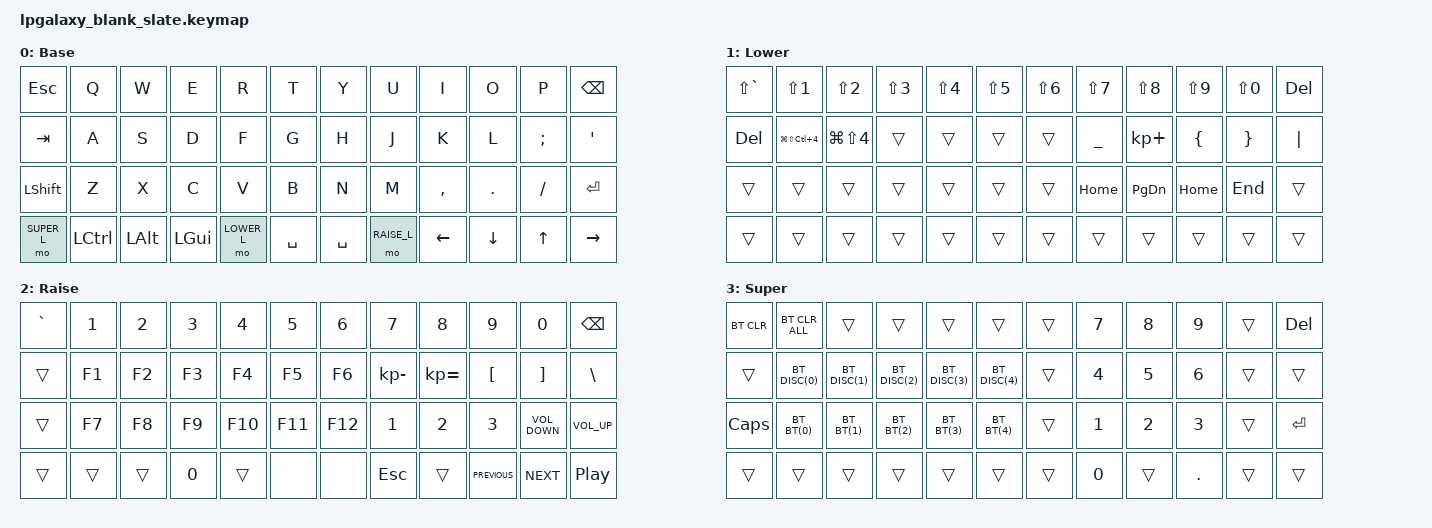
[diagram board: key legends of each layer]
/*
 * Copyright (c) 2022 Pete Johanson
 *
 * SPDX-License-Identifier: MIT
 */

#include <behaviors.dtsi>
#include <dt-bindings/zmk/keys.h>
#include <dt-bindings/zmk/bt.h>
#include <dt-bindings/zmk/outputs.h>

#define BASE_L 0
#define LOWER_L 1
#define RAISE_L 2
#define SUPER_L 3

// Using layer taps on thumbs, having quick tap as well helps w/ repeating space/backspace
&lt { quick_tap_ms = <200>; };

#define BT(n) BT_SEL n

/ {
    keymap {
        compatible = "zmk,keymap";

        base_layer {
            label = "Base";
            /* Qwerty
            * ,-----------------------------------------------------------------------------------.
            * | Esc  |   Q  |   W  |   E  |   R  |   T  |   Y  |   U  |   I  |   O  |   P  | Bksp |
            * |------+------+------+------+------+------+------+------+------+------+------+------|
            * | Tab  |   A  |   S  |   D  |   F  |   G  |   H  |   J  |   K  |   L  |   ;  |  '   |
            * |------+------+------+------+------+------+------+------+------+------+------+------|
            * | Shift|   Z  |   X  |   C  |   V  |   B  |   N  |   M  |   ,  |   .  |   /  |Enter |
            * |------+------+------+------+------+------+------+------+------+------+------+------|
            * | Super| Ctrl | Alt  | GUI  |Lower | Spc  | Spc  |Raise | Left | Down |  Up  |Right |
            * `-----------------------------------------------------------------------------------'
            */

            bindings = <
 &kp ESC      &kp Q      &kp W      &kp E     &kp R          &kp T          &kp Y            &kp U          &kp I       &kp O      &kp P         &kp BKSP
 &kp TAB      &kp A      &kp S      &kp D     &kp F          &kp G          &kp H            &kp J          &kp K       &kp L      &kp SEMI      &kp QUOT
 &kp LSHFT    &kp Z      &kp X      &kp C     &kp V          &kp B          &kp N            &kp M          &kp COMMA   &kp DOT    &kp FSLH      &kp RET
 &mo SUPER_L  &kp LCTRL  &kp LALT   &kp LGUI  &mo LOWER_L    &kp SPACE      &kp SPACE        &mo RAISE_L    &kp LEFT    &kp DOWN   &kp UP        &kp RIGHT
            >;
        };

        lower_layer {
            label = "Lower";
            /* Lower
            * ,-----------------------------------------------------------------------------------.
            * |   ~  |   !  |   @  |   #  |   $  |   %  |   ^  |   &  |   *  |   (  |   )  | Del  |
            * |------+------+------+------+------+------+------+------+------+------+------+------|
            * | Del  | Scr  | Scr+ |      |      |      |      |   _  |   +  |   {  |   }  |  |   |
            * |------+------+------+------+------+------+------+------+------+------+------+------|
            * |      |      |      |      |      |      |      |      |      | Home | End  |      |
            * |------+------+------+------+------+------+------+------+------+------+------+------|
            * |      |      |      |      |      |      |      |      |      |      |      |      |
            * `-----------------------------------------------------------------------------------'
            */
            bindings = <
&kp LS(GRAVE) &kp LS(N1)            &kp LS(N2)     &kp LS(N3) &kp LS(N4) &kp LS(N5) &kp LS(N6) &kp LS(N7)     &kp LS(N8)  &kp LS(N9)     &kp LS(N0)       &kp DEL
&kp DEL       &kp LG(LS(LC(N4)))    &kp LG(LS(N4)) &trans     &trans     &trans     &trans     &kp UNDERSCORE &kp KP_PLUS &kp LEFT_BRACE &kp RIGHT_BRACE  &kp PIPE
&trans        &trans                &trans         &trans     &trans     &trans     &trans     &kp HOME       &kp PG_DN   &kp HOME       &kp END          &trans
&trans        &trans                &trans         &trans     &trans     &trans     &trans     &trans         &trans      &trans         &trans           &trans
            >;
        };

        raise_layer {
            label = "Raise";
            /* Raise
            * ,-----------------------------------------------------------------------------------.
            * |   `  |   1  |   2  |   3  |   4  |   5  |   6  |   7  |   8  |   9  |   0  | Bksp |
            * |------+------+------+------+------+------+------+------+------+------+------+------|
            * | Del  |  F1  |  F2  |  F3  |  F4  |  F5  |  F6  |   -  |   =  |   [  |   ]  |  \   |
            * |------+------+------+------+------+------+------+------+------+------+------+------|
            * |      |  F7  |  F8  |  F9  |  F10 |  F11 |  F12 |      |      |      | Vol- | Vol+ |
            * |------+------+------+------+------+------+------+------+------+------+------+------|
            * |      |      |      |      |      |      |      |      |      | Prev | Next | Play |
            * `-----------------------------------------------------------------------------------'
            */
            bindings = <
&kp GRAVE &kp N1 &kp N2 &kp N3 &kp N4  &kp N5  &kp N6  &kp N7       &kp N8       &kp N9           &kp N0            &kp BSPC
&trans    &kp F1 &kp F2 &kp F3 &kp F4  &kp F5  &kp F6  &kp KP_MINUS &kp KP_EQUAL &kp LEFT_BRACKET &kp RIGHT_BRACKET &kp BACKSLASH
&trans    &kp F7 &kp F8 &kp F9 &kp F10 &kp F11 &kp F12 &kp N1       &kp N2       &kp N3           &kp C_VOLUME_DOWN &kp C_VOLUME_UP
&trans    &trans &trans &kp N0 &trans  &none   &none   &kp ESC      &trans       &kp C_PREVIOUS   &kp C_NEXT        &kp C_PLAY_PAUSE
            >;
        };

        super_layer {
            label = "Super";
            /* Super
            * ,-----------------------------------------------------------------------------------.
            * |BT Clr|BtClrA|      |      |      |      |      |  7   |  8   |  9   |      | Del  |
            * |------+------+------+------+------+------+------+------+------+------+------+------|
            * |      |X BT0 |X BT1 |X BT2 |X BT3 |X BT4 |      |  4   |  5   |  6   |      |      |
            * |------+------+------+------+------+------+------+------+------+------+------+------|
            * | Caps | BT0  | BT1  | BT2  | BT3  | BT4  |      |  1   |  2   |  3   |      |Enter |
            * |------+------+------+------+------+------+------+------+------+------+------+------|
            * |      |      |      |      |      |      |      |  0   |      |  .   |      |      |
            * `-----------------------------------------------------------------------------------'
            */
            bindings = <
&bt BT_CLR    &bt BT_CLR_ALL &trans         &trans         &trans         &trans         &trans     &kp N7    &kp N8     &kp N9      &trans  &kp DEL
&trans        &bt BT_DISC(0) &bt BT_DISC(1) &bt BT_DISC(2) &bt BT_DISC(3) &bt BT_DISC(4) &trans     &kp N4    &kp N5     &kp N6      &trans  &trans
&kp CAPSLOCK  &bt BT(0)      &bt BT(1)      &bt BT(2)      &bt BT(3)      &bt BT(4)      &trans     &kp N1    &kp N2     &kp N3      &trans  &kp RET
&trans        &trans         &trans         &trans         &trans         &trans         &trans     &kp N0    &trans     &kp PERIOD  &trans  &trans
            >;
        };


    };
};
